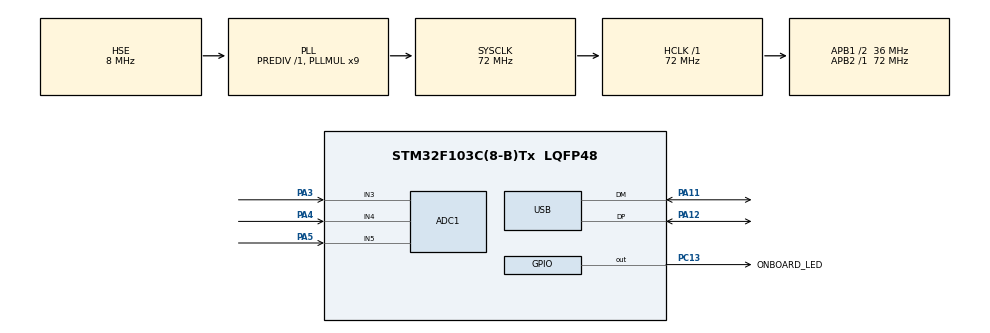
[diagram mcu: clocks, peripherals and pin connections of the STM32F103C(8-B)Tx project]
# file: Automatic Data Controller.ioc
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ADC1.Channel-1\#ChannelRegularConversion=ADC_CHANNEL_3
ADC1.Channel-2\#ChannelRegularConversion=ADC_CHANNEL_4
ADC1.Channel-3\#ChannelRegularConversion=ADC_CHANNEL_5
ADC1.ContinuousConvMode=ENABLE
ADC1.NbrOfConversion=3
ADC1.NbrOfConversionFlag=1
ADC1.Rank-1\#ChannelRegularConversion=1
ADC1.Rank-2\#ChannelRegularConversion=2
ADC1.Rank-3\#ChannelRegularConversion=3
ADC1.SamplingTime-1\#ChannelRegularConversion=ADC_SAMPLETIME_239CYCLES_5
ADC1.SamplingTime-2\#ChannelRegularConversion=ADC_SAMPLETIME_239CYCLES_5
ADC1.SamplingTime-3\#ChannelRegularConversion=ADC_SAMPLETIME_239CYCLES_5
ADC1.master=1
Dma.ADC1.0.Direction=DMA_PERIPH_TO_MEMORY
Dma.ADC1.0.Instance=DMA1_Channel1
Dma.ADC1.0.MemDataAlignment=DMA_MDATAALIGN_WORD
Dma.ADC1.0.MemInc=DMA_MINC_ENABLE
Dma.ADC1.0.Mode=DMA_CIRCULAR
Dma.ADC1.0.PeriphDataAlignment=DMA_PDATAALIGN_WORD
Dma.ADC1.0.PeriphInc=DMA_PINC_DISABLE
Dma.ADC1.0.Priority=DMA_PRIORITY_LOW
Dma.Request0=ADC1
Mcu.Family=STM32F1
Mcu.Name=STM32F103C(8-B)Tx
Mcu.Package=LQFP48
NVIC.ADC1_2_IRQn=true\:0\:0\:false\:false\:true\:true\:true\:true
NVIC.DMA1_Channel1_IRQn=true\:0\:0\:false\:false\:true\:false\:true\:true
NVIC.PriorityGroup=NVIC_PRIORITYGROUP_4
NVIC.USB_LP_CAN1_RX0_IRQn=true\:0\:0\:false\:false\:true\:false\:true\:true
PA11.Mode=Device
PA11.Signal=USB_DM
PA12.Mode=Device
PA12.Signal=USB_DP
PA13.Mode=Serial_Wire
PA13.Signal=SYS_JTMS-SWDIO
PA14.Mode=Serial_Wire
PA14.Signal=SYS_JTCK-SWCLK
PA3.Signal=ADCx_IN3
PA4.Signal=ADCx_IN4
PA5.Signal=ADCx_IN5
PC13-TAMPER-RTC.GPIO_Label=ONBOARD_LED
PC13-TAMPER-RTC.PinState=GPIO_PIN_SET
PC13-TAMPER-RTC.Signal=GPIO_Output
PD0-OSC_IN.Mode=HSE-External-Oscillator
PD0-OSC_IN.Signal=RCC_OSC_IN
PD1-OSC_OUT.Mode=HSE-External-Oscillator
PD1-OSC_OUT.Signal=RCC_OSC_OUT
ProjectManager.HeapSize=0x200
ProjectManager.StackSize=0x400
ProjectManager.TargetToolchain=STM32CubeIDE
RCC.ADCPresc=RCC_ADCPCLK2_DIV6
RCC.AHBFreq_Value=72000000
RCC.APB1CLKDivider=RCC_HCLK_DIV2
RCC.APB1Freq_Value=36000000
RCC.APB1TimFreq_Value=72000000
RCC.APB2Freq_Value=72000000
RCC.APB2TimFreq_Value=72000000
RCC.HCLKFreq_Value=72000000
RCC.PLLMUL=RCC_PLL_MUL9
RCC.PLLSourceVirtual=RCC_PLLSOURCE_HSE
RCC.SYSCLKFreq_VALUE=72000000
RCC.SYSCLKSource=RCC_SYSCLKSOURCE_PLLCLK
RCC.USBFreq_Value=48000000
RCC.USBPrescaler=RCC_USBCLKSOURCE_PLL_DIV1_5
SH.ADCx_IN3.0=ADC1_IN3,IN3
SH.ADCx_IN4.0=ADC1_IN4,IN4
SH.ADCx_IN5.0=ADC1_IN5,IN5
USB_DEVICE.CLASS_NAME_FS=CDC
USB_DEVICE.MANUFACTURER_STRING=SorX14
USB_DEVICE.PID_CDC_FS=22337
USB_DEVICE.PRODUCT_STRING_CDC_FS=ADC-USB-CDC
USB_DEVICE.USBD_DEBUG_LEVEL=0
USB_DEVICE.VirtualMode=Cdc
USB_DEVICE.VirtualModeFS=Cdc_FS
VP_USB_DEVICE_VS_USB_DEVICE_CDC_FS.Mode=CDC_FS
board=custom

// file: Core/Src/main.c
/* USER CODE BEGIN Header */
/**
  ******************************************************************************
  * @file           : main.c
  * @brief          : Main program body
  ******************************************************************************
  * @attention
  *
  * Copyright (c) 2023 STMicroelectronics.
  * All rights reserved.
  *
  * This software is licensed under terms that can be found in the LICENSE file
  * in the root directory of this software component.
  * If no LICENSE file comes with this software, it is provided AS-IS.
  *
  ******************************************************************************
  */
/* USER CODE END Header */
#include "main.h"
#include "usb_device.h"

/* USER CODE BEGIN Includes */
#include "usbd_cdc_if.h"

/* USER CODE END Includes */

ADC_HandleTypeDef hadc1;
DMA_HandleTypeDef hdma_adc1;

/* USER CODE BEGIN PV */
extern USBD_HandleTypeDef hUsbDeviceFS;
/* USER CODE END PV */

void SystemClock_Config(void);
static void MX_GPIO_Init(void);
static void MX_DMA_Init(void);
static void MX_ADC1_Init(void);
/* USER CODE BEGIN PFP */

// https://controllerstech.com/stm32-adc-multiple-channels/
uint32_t adc_value[3]; // Storage for ADC values
uint8_t ready_counter = 0;
uint8_t ready = 0;

float adc_to_voltage (uint32_t adc_reading)
{
	float voltage = ((float) (adc_reading) / 4096) * 3.3;

	return voltage;
}

/* USER CODE END PFP */

/* USER CODE BEGIN 0 */

// Called when USB-CDC data is received
void echo_received_data(uint8_t *data, uint32_t length)
{
  CDC_Transmit_FS(data, length);
}

// This is called when the ADC finishes reading something
void HAL_ADC_ConvCpltCallback(ADC_HandleTypeDef* hadc)
{
	ready_counter++;
	if (ready_counter >= 3) {
		ready = 1;
		ready_counter = 0;
	}
}

/* USER CODE END 0 */

int main(void)
{

  /* MCU Configuration--------------------------------------------------------*/

  /* Reset of all peripherals, Initializes the Flash interface and the Systick. */
  HAL_Init();

  /* Configure the system clock */
  SystemClock_Config();

  /* Initialize all configured peripherals */
  MX_GPIO_Init();
  MX_DMA_Init();
  MX_ADC1_Init();
  MX_USB_DEVICE_Init();
  /* USER CODE BEGIN 2 */

  // Calibrate ADC1
  HAL_ADCEx_Calibration_Start(&hadc1);
  HAL_ADC_Start_DMA(&hadc1, adc_value, 3);

  /* USER CODE END 2 */

  /* Infinite loop */
  /* USER CODE BEGIN WHILE */

  while (1)
  {
	  uint8_t dev_state = hUsbDeviceFS.dev_state;
	  if (dev_state == USBD_STATE_CONFIGURED) {
		  HAL_GPIO_WritePin(ONBOARD_LED_GPIO_Port, ONBOARD_LED_Pin, GPIO_PIN_RESET);

		  if (ready) {
			  ready = 0;

			  // Create a string to send to the host
			  char adc_readings[64] = "";
			  snprintf(
				  adc_readings,
				  sizeof(adc_readings),
				  "%ld:%ld:%ld:%f:%f:%f\r\n",
				  adc_value[0],
				  adc_value[1],
				  adc_value[2],
				  adc_to_voltage(adc_value[0]),
				  adc_to_voltage(adc_value[1]),
				  adc_to_voltage(adc_value[2])
			  );

			  // Send reading over USB-CDC connection
			  CDC_Transmit_FS((uint8_t*) adc_readings, strlen(adc_readings));
		  }
	  } else {
		  HAL_GPIO_WritePin(ONBOARD_LED_GPIO_Port, ONBOARD_LED_Pin, GPIO_PIN_SET);
	  }

    /* USER CODE END WHILE */

  }
}

void SystemClock_Config(void)
{
  RCC_OscInitTypeDef RCC_OscInitStruct = {0};
  RCC_ClkInitTypeDef RCC_ClkInitStruct = {0};
  RCC_PeriphCLKInitTypeDef PeriphClkInit = {0};

  /** Initializes the RCC Oscillators according to the specified parameters
  * in the RCC_OscInitTypeDef structure.
  */
  RCC_OscInitStruct.OscillatorType = RCC_OSCILLATORTYPE_HSE;
  RCC_OscInitStruct.HSEState = RCC_HSE_ON;
  RCC_OscInitStruct.HSEPredivValue = RCC_HSE_PREDIV_DIV1;
  RCC_OscInitStruct.HSIState = RCC_HSI_ON;
  RCC_OscInitStruct.PLL.PLLState = RCC_PLL_ON;
  RCC_OscInitStruct.PLL.PLLSource = RCC_PLLSOURCE_HSE;
  RCC_OscInitStruct.PLL.PLLMUL = RCC_PLL_MUL9;
  if (HAL_RCC_OscConfig(&RCC_OscInitStruct) != HAL_OK)
  {
    Error_Handler();
  }

  /** Initializes the CPU, AHB and APB buses clocks
  */
  RCC_ClkInitStruct.ClockType = RCC_CLOCKTYPE_HCLK|RCC_CLOCKTYPE_SYSCLK
                              |RCC_CLOCKTYPE_PCLK1|RCC_CLOCKTYPE_PCLK2;
  RCC_ClkInitStruct.SYSCLKSource = RCC_SYSCLKSOURCE_PLLCLK;
  RCC_ClkInitStruct.AHBCLKDivider = RCC_SYSCLK_DIV1;
  RCC_ClkInitStruct.APB1CLKDivider = RCC_HCLK_DIV2;
  RCC_ClkInitStruct.APB2CLKDivider = RCC_HCLK_DIV1;

  if (HAL_RCC_ClockConfig(&RCC_ClkInitStruct, FLASH_LATENCY_2) != HAL_OK)
  {
    Error_Handler();
  }
  PeriphClkInit.PeriphClockSelection = RCC_PERIPHCLK_ADC|RCC_PERIPHCLK_USB;
  PeriphClkInit.AdcClockSelection = RCC_ADCPCLK2_DIV6;
  PeriphClkInit.UsbClockSelection = RCC_USBCLKSOURCE_PLL_DIV1_5;
  if (HAL_RCCEx_PeriphCLKConfig(&PeriphClkInit) != HAL_OK)
  {
    Error_Handler();
  }
}

static void MX_ADC1_Init(void)
{

  ADC_ChannelConfTypeDef sConfig = {0};

  /** Common config
  */
  hadc1.Instance = ADC1;
  hadc1.Init.ScanConvMode = ADC_SCAN_ENABLE;
  hadc1.Init.ContinuousConvMode = ENABLE;
  hadc1.Init.DiscontinuousConvMode = DISABLE;
  hadc1.Init.ExternalTrigConv = ADC_SOFTWARE_START;
  hadc1.Init.DataAlign = ADC_DATAALIGN_RIGHT;
  hadc1.Init.NbrOfConversion = 3;
  if (HAL_ADC_Init(&hadc1) != HAL_OK)
  {
    Error_Handler();
  }

  /** Configure Regular Channel
  */
  sConfig.Channel = ADC_CHANNEL_3;
  sConfig.Rank = ADC_REGULAR_RANK_1;
  sConfig.SamplingTime = ADC_SAMPLETIME_239CYCLES_5;
  if (HAL_ADC_ConfigChannel(&hadc1, &sConfig) != HAL_OK)
  {
    Error_Handler();
  }

  /** Configure Regular Channel
  */
  sConfig.Channel = ADC_CHANNEL_4;
  sConfig.Rank = ADC_REGULAR_RANK_2;
  if (HAL_ADC_ConfigChannel(&hadc1, &sConfig) != HAL_OK)
  {
    Error_Handler();
  }

  /** Configure Regular Channel
  */
  sConfig.Channel = ADC_CHANNEL_5;
  sConfig.Rank = ADC_REGULAR_RANK_3;
  if (HAL_ADC_ConfigChannel(&hadc1, &sConfig) != HAL_OK)
  {
    Error_Handler();
  }

}

static void MX_DMA_Init(void)
{

  /* DMA controller clock enable */
  __HAL_RCC_DMA1_CLK_ENABLE();

  /* DMA interrupt init */
  /* DMA1_Channel1_IRQn interrupt configuration */
  HAL_NVIC_SetPriority(DMA1_Channel1_IRQn, 0, 0);
  HAL_NVIC_EnableIRQ(DMA1_Channel1_IRQn);

}

static void MX_GPIO_Init(void)
{
  GPIO_InitTypeDef GPIO_InitStruct = {0};

  /* GPIO Ports Clock Enable */
  __HAL_RCC_GPIOC_CLK_ENABLE();
  __HAL_RCC_GPIOD_CLK_ENABLE();
  __HAL_RCC_GPIOA_CLK_ENABLE();

  /*Configure GPIO pin Output Level */
  HAL_GPIO_WritePin(ONBOARD_LED_GPIO_Port, ONBOARD_LED_Pin, GPIO_PIN_SET);

  /*Configure GPIO pin : ONBOARD_LED_Pin */
  GPIO_InitStruct.Pin = ONBOARD_LED_Pin;
  GPIO_InitStruct.Mode = GPIO_MODE_OUTPUT_PP;
  GPIO_InitStruct.Pull = GPIO_NOPULL;
  GPIO_InitStruct.Speed = GPIO_SPEED_FREQ_LOW;
  HAL_GPIO_Init(ONBOARD_LED_GPIO_Port, &GPIO_InitStruct);

}

void Error_Handler(void)
{
  __disable_irq();
  while (1)
  {
  }
}
